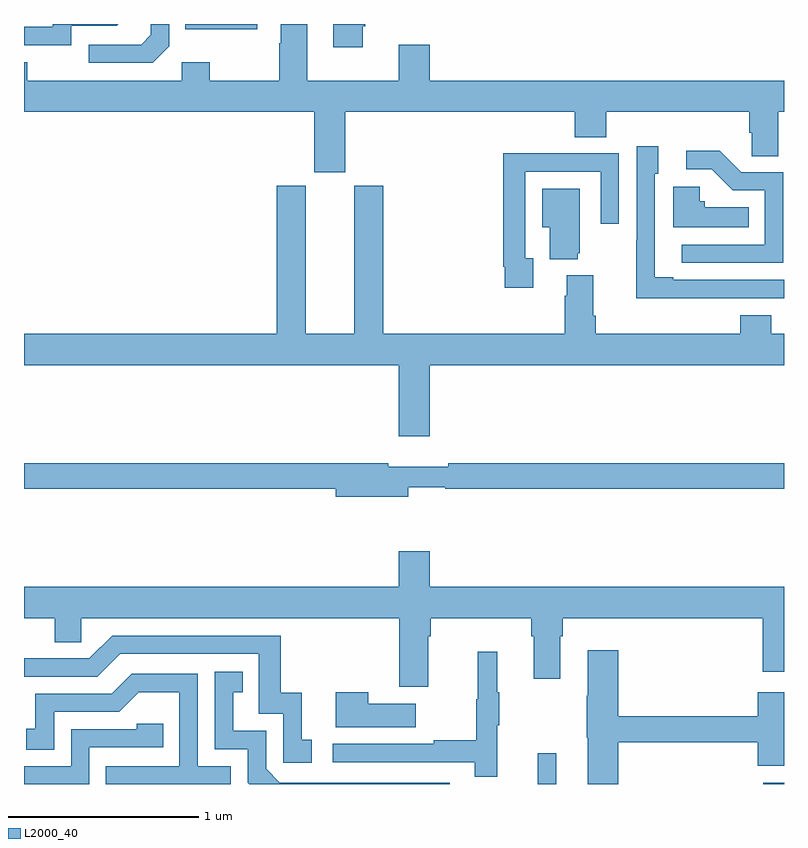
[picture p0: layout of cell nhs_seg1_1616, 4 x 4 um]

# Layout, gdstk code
import gdstk
lib = gdstk.Library(unit=1e-6, precision=1e-09)
def R(c, l, rs):  # rectangles x0, y0, x1, y1
    for r in rs: c.add(gdstk.rectangle(r[:2], r[2:], *l))
def P(c, l, *ps):  # polygons
    for p in ps: c.add(gdstk.Polygon(p, *l))
L2000_40 = (2000, 40)

nhs_seg1_1616 = lib.new_cell('nhs_seg1_1616')
R(nhs_seg1_1616, L2000_40, [(201.705,544.199,201.802,544.36), (202.89,544.199,203,544.206), (199.849,548.171,200.227,548.199)])
P(nhs_seg1_1616, L2000_40, [(199.764,548.082),(199.764,548.199),(199.668,548.199),(199.668,548.142),(199.617,548.091),(199.341,548.091),(199.341,547.995),(199.677,547.995)],
  [(200.782,548.188),(200.795,548.188),(200.795,548.199),(200.627,548.199),(200.627,548.076),(200.782,548.076)],
  [(199.248,548.19),(199.488,548.19),(199.497,548.199),(199.152,548.199),(199.152,548.184),(199,548.184),(199,548.088),(199.248,548.088)],
  [(201.136,548.089),(200.972,548.089),(200.972,547.9),(200.491,547.9),(200.491,548.199),(200.351,548.199),(200.351,548.099),(200.344,548.099),(200.344,547.9),(199.977,547.9),(199.977,547.999),(199.83,547.999),(199.83,547.9),(199.017,547.9),(199.017,547.999),(199,547.999),(199,547.736),(200.528,547.736),(200.528,547.419),(200.692,547.419),(200.692,547.736),(201.899,547.736),(201.899,547.603),(202.064,547.603),(202.064,547.736),(202.817,547.736),(202.817,547.627),(202.83,547.627),(202.83,547.504),(202.969,547.504),(202.969,547.736),(203,547.736),(203,547.9),(201.136,547.9)],
  [(202.685,546.756),(203,546.756),(203,546.852),(202.417,546.852),(202.417,546.865),(202.32,546.865),(202.32,547.41),(202.339,547.41),(202.339,547.555),(202.224,547.555),(202.224,547.061),(202.222,547.061),(202.222,546.755),(202.685,546.755)],
  [(202.995,547.419),(202.776,547.419),(202.663,547.532),(202.485,547.532),(202.485,547.434),(202.619,547.434),(202.73,547.323),(202.899,547.323),(202.899,547.038),(202.461,547.038),(202.461,546.942),(202.995,546.942)],
  [(201.679,546.966),(201.639,546.966),(201.639,547.422),(202.035,547.422),(202.035,547.149),(202.131,547.149),(202.131,547.518),(201.815,547.518),(201.815,547.52),(201.523,547.52),(201.523,546.922),(201.531,546.922),(201.531,546.81),(201.679,546.81)],
  [(201.136,546.404),(203,546.404),(203,546.568),(202.934,546.568),(202.934,546.667),(202.769,546.667),(202.769,546.568),(202.01,546.568),(202.01,546.664),(201.997,546.664),(201.997,546.877),(201.857,546.877),(201.857,546.77),(201.845,546.77),(201.845,546.568),(200.891,546.568),(200.891,547.347),(200.738,547.347),(200.738,546.568),(200.482,546.568),(200.482,547.347),(200.33,547.347),(200.33,546.568),(199,546.568),(199,546.404),(200.972,546.404),(200.972,546.03),(201.136,546.03)],
  [(202.814,547.234),(202.584,547.234),(202.584,547.266),(202.557,547.266),(202.557,547.342),(202.418,547.342),(202.418,547.13),(202.814,547.13)],
  [(201.914,546.993),(201.925,546.993),(201.925,547.333),(201.728,547.333),(201.728,547.13),(201.767,547.13),(201.767,546.962),(201.914,546.962)],
  [(201.022,545.76),(201.218,545.76),(201.218,545.752),(203,545.752),(203,545.888),(201.232,545.888),(201.232,545.869),(200.918,545.869),(200.918,545.888),(199,545.888),(199,545.752),(200.642,545.752),(200.642,545.71),(201.022,545.71)],
  [(201.136,545.425),(200.972,545.425),(200.972,545.236),(199,545.236),(199,545.072),(199.163,545.072),(199.163,544.945),(199.302,544.945),(199.302,545.072),(200.975,545.072),(200.975,544.71),(201.127,544.71),(201.127,544.976),(201.14,544.976),(201.14,545.072),(201.671,545.072),(201.671,544.976),(201.683,544.976),(201.683,544.752),(201.823,544.752),(201.823,544.976),(201.836,544.976),(201.836,545.072),(202.889,545.072),(202.889,544.791),(203,544.791),(203,545.236),(201.136,545.236)],
  [(200.515,544.431),(200.462,544.431),(200.462,544.678),(200.351,544.678),(200.351,544.98),(199.464,544.98),(199.344,544.86),(199,544.86),(199,544.764),(199.386,544.764),(199.506,544.884),(200.235,544.884),(200.235,544.569),(200.364,544.569),(200.364,544.311),(200.515,544.311)],
  [(202.127,544.42),(202.862,544.42),(202.862,544.295),(203,544.295),(203,544.681),(202.862,544.681),(202.862,544.556),(202.127,544.556),(202.127,544.903),(201.968,544.903),(201.968,544.664),(201.961,544.664),(201.961,544.443),(201.968,544.443),(201.968,544.199),(202.127,544.199)],
  [(201.491,544.507),(201.502,544.507),(201.502,544.681),(201.491,544.681),(201.491,544.894),(201.388,544.894),(201.388,544.644),(201.381,544.644),(201.381,544.43),(201.157,544.43),(201.157,544.41),(200.625,544.41),(200.625,544.314),(201.373,544.314),(201.373,544.236),(201.491,544.236)],
  [(201.24,544.206),(200.346,544.206),(200.274,544.278),(200.274,544.479),(200.101,544.479),(200.101,544.683),(200.15,544.683),(200.15,544.789),(200.004,544.789),(200.004,544.383),(200.178,544.383),(200.178,544.206),(200.185,544.199),(201.24,544.199)],
  [(200.088,544.293),(199.914,544.293),(199.914,544.779),(199.568,544.779),(199.463,544.674),(199.06,544.674),(199.06,544.489),(199.011,544.489),(199.011,544.38),(199.158,544.38),(199.158,544.578),(199.5,544.578),(199.604,544.682),(199.818,544.682),(199.818,544.293),(199.429,544.293),(199.429,544.199),(200.088,544.199)],
  [(201.061,544.621),(200.813,544.621),(200.813,544.681),(200.642,544.681),(200.642,544.499),(201.061,544.499)],
  [(199.344,544.392),(199.733,544.392),(199.733,544.515),(199.593,544.515),(199.593,544.488),(199.248,544.488),(199.248,544.293),(199,544.293),(199,544.199),(199.344,544.199)])

lib.write_gds('nhs_seg1_1616.gds')
